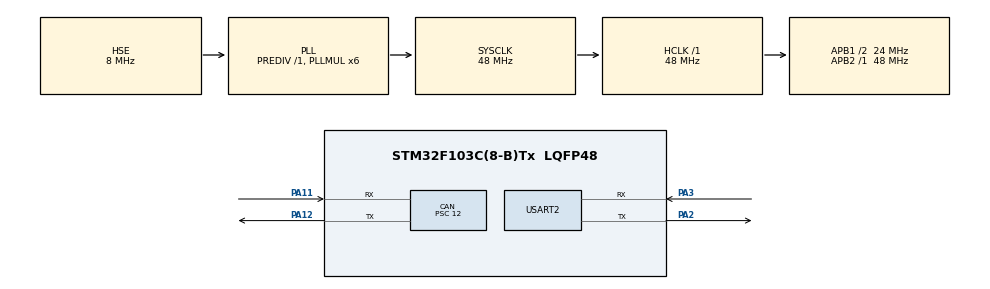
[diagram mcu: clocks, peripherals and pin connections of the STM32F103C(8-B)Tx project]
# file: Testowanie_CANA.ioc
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CAN.BS1=CAN_BS1_13TQ
CAN.BS2=CAN_BS2_2TQ
CAN.CalculateBaudRate=125000
CAN.CalculateTimeBit=8000.00
CAN.CalculateTimeQuantum=500.0
CAN.Mode=CAN_MODE_NORMAL
CAN.Prescaler=12
Dma.Request0=USART2_RX
Dma.Request1=USART2_TX
Dma.USART2_RX.0.Direction=DMA_PERIPH_TO_MEMORY
Dma.USART2_RX.0.Instance=DMA1_Channel6
Dma.USART2_RX.0.MemDataAlignment=DMA_MDATAALIGN_BYTE
Dma.USART2_RX.0.MemInc=DMA_MINC_ENABLE
Dma.USART2_RX.0.Mode=DMA_NORMAL
Dma.USART2_RX.0.PeriphDataAlignment=DMA_PDATAALIGN_BYTE
Dma.USART2_RX.0.PeriphInc=DMA_PINC_DISABLE
Dma.USART2_RX.0.Priority=DMA_PRIORITY_LOW
Dma.USART2_TX.1.Direction=DMA_MEMORY_TO_PERIPH
Dma.USART2_TX.1.Instance=DMA1_Channel7
Dma.USART2_TX.1.MemDataAlignment=DMA_MDATAALIGN_BYTE
Dma.USART2_TX.1.MemInc=DMA_MINC_ENABLE
Dma.USART2_TX.1.Mode=DMA_NORMAL
Dma.USART2_TX.1.PeriphDataAlignment=DMA_PDATAALIGN_BYTE
Dma.USART2_TX.1.PeriphInc=DMA_PINC_DISABLE
Dma.USART2_TX.1.Priority=DMA_PRIORITY_LOW
Mcu.Family=STM32F1
Mcu.Name=STM32F103C(8-B)Tx
Mcu.Package=LQFP48
NVIC.DMA1_Channel6_IRQn=true\:0\:0\:false\:false\:true\:false\:true
NVIC.DMA1_Channel7_IRQn=true\:0\:0\:false\:false\:true\:false\:true
NVIC.PriorityGroup=NVIC_PRIORITYGROUP_4
NVIC.USART2_IRQn=true\:0\:0\:false\:true\:true\:1\:true\:true
NVIC.USB_LP_CAN1_RX0_IRQn=true\:0\:0\:false\:true\:true\:2\:true\:true
PA11.Mode=CAN_Activate
PA11.Signal=CAN_RX
PA12.Mode=CAN_Activate
PA12.Signal=CAN_TX
PA13.Mode=Serial_Wire
PA13.Signal=SYS_JTMS-SWDIO
PA14.Mode=Serial_Wire
PA14.Signal=SYS_JTCK-SWCLK
PA2.Mode=Asynchronous
PA2.Signal=USART2_TX
PA3.Mode=Asynchronous
PA3.Signal=USART2_RX
PD0-OSC_IN.Mode=HSE-External-Oscillator
PD0-OSC_IN.Signal=RCC_OSC_IN
PD1-OSC_OUT.Mode=HSE-External-Oscillator
PD1-OSC_OUT.Signal=RCC_OSC_OUT
ProjectManager.HeapSize=0x200
ProjectManager.StackSize=0x400
ProjectManager.TargetToolchain=STM32CubeIDE
RCC.AHBFreq_Value=48000000
RCC.APB1CLKDivider=RCC_HCLK_DIV2
RCC.APB1Freq_Value=24000000
RCC.APB1TimFreq_Value=48000000
RCC.APB2Freq_Value=48000000
RCC.APB2TimFreq_Value=48000000
RCC.HCLKFreq_Value=48000000
RCC.PLLMUL=RCC_PLL_MUL6
RCC.PLLSourceVirtual=RCC_PLLSOURCE_HSE
RCC.SYSCLKFreq_VALUE=48000000
RCC.SYSCLKSource=RCC_SYSCLKSOURCE_PLLCLK
RCC.USBFreq_Value=48000000
USART2.VirtualMode=VM_ASYNC
board=custom

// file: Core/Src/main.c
/* USER CODE BEGIN Header */
/**
  ******************************************************************************
  * @file           : main.c
  * @brief          : Main program body
  ******************************************************************************
  * @attention
  *
  * <h2><center>&copy; Copyright (c) 2021 STMicroelectronics.
  * All rights reserved.</center></h2>
  *
  * This software component is licensed by ST under BSD 3-Clause license,
  * the "License"; You may not use this file except in compliance with the
  * License. You may obtain a copy of the License at:
  *                        opensource.org/licenses/BSD-3-Clause
  *
  ******************************************************************************
  */
/* USER CODE END Header */
#include "main.h"
#include "can.h"
#include "dma.h"
#include "usart.h"
#include "gpio.h"

/* USER CODE BEGIN Includes */
#include "uartdma.h"
#include "parser.h"
#include "MyCAN.h"
#include "Addresses.h"
/* USER CODE END Includes */

/* USER CODE BEGIN PV */
UARTDMA_HandleTypeDef huartdma2;
MyCAN_CAN_HandleTypeDef Myhcan;
CAN_TxHeaderTypeDef TxHeader;
CAN_RxHeaderTypeDef RxHeader;
CAN_FilterTypeDef FilterConfig;
AddressLIST AL;
/* USER CODE END PV */

void SystemClock_Config(void);
static void MX_NVIC_Init(void);
/* USER CODE BEGIN PFP */
void HAL_CAN_RxFifo0MsgPendingCallback(CAN_HandleTypeDef *hcan);
/* USER CODE END PFP */

int main(void)
{

  /* MCU Configuration--------------------------------------------------------*/

  /* Reset of all peripherals, Initializes the Flash interface and the Systick. */
  HAL_Init();

  /* Configure the system clock */
  SystemClock_Config();

  /* Initialize all configured peripherals */
  MX_GPIO_Init();
  MX_DMA_Init();
  MX_USART2_UART_Init();
  MX_CAN_Init();

  /* Initialize interrupts */
  MX_NVIC_Init();
  /* USER CODE BEGIN 2 */
  MemTable_Init(&AL);
  UARTDMA_Init(&huartdma2, &huart2);
  MyCAN_Init(&Myhcan,&AL, &hcan, &FilterConfig,  &TxHeader, &RxHeader);

  /* USER CODE END 2 */

  /* Infinite loop */
  /* USER CODE BEGIN WHILE */
  while (1)
  {

	  //
	  // Received
	  //

	  if(UARTDMA_IsDataReceivedReady(&huartdma2)){
		  UART_ParseLine(&huartdma2);
	  }

	  //
	  // Transmit
	  //

	  UARTDMA_TransmitEvent(&huartdma2);

    /* USER CODE END WHILE */

  }
}

void SystemClock_Config(void)
{
  RCC_OscInitTypeDef RCC_OscInitStruct = {0};
  RCC_ClkInitTypeDef RCC_ClkInitStruct = {0};

  /** Initializes the RCC Oscillators according to the specified parameters
  * in the RCC_OscInitTypeDef structure.
  */
  RCC_OscInitStruct.OscillatorType = RCC_OSCILLATORTYPE_HSE;
  RCC_OscInitStruct.HSEState = RCC_HSE_ON;
  RCC_OscInitStruct.HSEPredivValue = RCC_HSE_PREDIV_DIV1;
  RCC_OscInitStruct.HSIState = RCC_HSI_ON;
  RCC_OscInitStruct.PLL.PLLState = RCC_PLL_ON;
  RCC_OscInitStruct.PLL.PLLSource = RCC_PLLSOURCE_HSE;
  RCC_OscInitStruct.PLL.PLLMUL = RCC_PLL_MUL6;
  if (HAL_RCC_OscConfig(&RCC_OscInitStruct) != HAL_OK)
  {
    Error_Handler();
  }
  /** Initializes the CPU, AHB and APB buses clocks
  */
  RCC_ClkInitStruct.ClockType = RCC_CLOCKTYPE_HCLK|RCC_CLOCKTYPE_SYSCLK
                              |RCC_CLOCKTYPE_PCLK1|RCC_CLOCKTYPE_PCLK2;
  RCC_ClkInitStruct.SYSCLKSource = RCC_SYSCLKSOURCE_PLLCLK;
  RCC_ClkInitStruct.AHBCLKDivider = RCC_SYSCLK_DIV1;
  RCC_ClkInitStruct.APB1CLKDivider = RCC_HCLK_DIV2;
  RCC_ClkInitStruct.APB2CLKDivider = RCC_HCLK_DIV1;

  if (HAL_RCC_ClockConfig(&RCC_ClkInitStruct, FLASH_LATENCY_1) != HAL_OK)
  {
    Error_Handler();
  }
}

/**
  * @brief NVIC Configuration.
  * @retval None
  */
static void MX_NVIC_Init(void)
{
  /* USART2_IRQn interrupt configuration */
  HAL_NVIC_SetPriority(USART2_IRQn, 0, 0);
  HAL_NVIC_EnableIRQ(USART2_IRQn);
  /* USB_LP_CAN1_RX0_IRQn interrupt configuration */
  HAL_NVIC_SetPriority(USB_LP_CAN1_RX0_IRQn, 0, 0);
  HAL_NVIC_EnableIRQ(USB_LP_CAN1_RX0_IRQn);
}

/* USER CODE BEGIN 4 */
void HAL_CAN_RxFifo0MsgPendingCallback(CAN_HandleTypeDef *hcan){
	MyCAN_ReceiveMessage(&Myhcan);
}
/* USER CODE END 4 */

void Error_Handler(void)
{
  __disable_irq();
  while (1)
  {
  }
}

/************************ (C) COPYRIGHT STMicroelectronics *****END OF FILE****/
